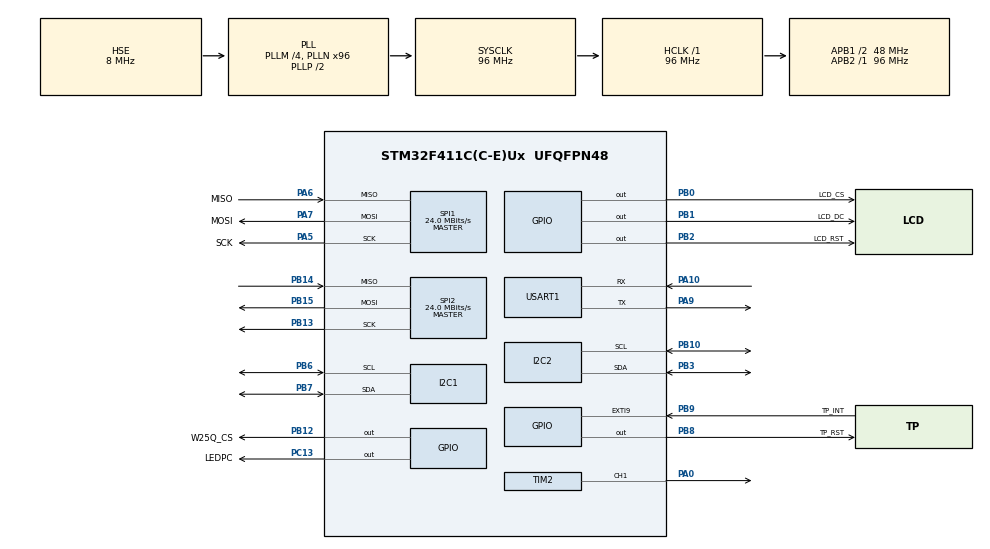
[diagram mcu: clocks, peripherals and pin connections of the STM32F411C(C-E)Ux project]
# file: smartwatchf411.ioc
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Dma.Request0=SPI1_TX
Dma.SPI1_TX.0.Direction=DMA_MEMORY_TO_PERIPH
Dma.SPI1_TX.0.FIFOMode=DMA_FIFOMODE_DISABLE
Dma.SPI1_TX.0.Instance=DMA2_Stream2
Dma.SPI1_TX.0.MemDataAlignment=DMA_MDATAALIGN_BYTE
Dma.SPI1_TX.0.MemInc=DMA_MINC_ENABLE
Dma.SPI1_TX.0.Mode=DMA_NORMAL
Dma.SPI1_TX.0.PeriphDataAlignment=DMA_PDATAALIGN_BYTE
Dma.SPI1_TX.0.PeriphInc=DMA_PINC_DISABLE
Dma.SPI1_TX.0.Priority=DMA_PRIORITY_HIGH
FREERTOS.Tasks01=guiTask,24,2048,StartGUITask,Default,NULL,Dynamic,NULL,NULL;rtcTask,16,256,StartRTCTask,Default,NULL,Dynamic,NULL,NULL;MAX30102Task,16,1024,StartMAX30102Task,Default,NULL,Dynamic,NULL,NULL;MPU6500Task,16,256,StartMPU6500Task,Default,NULL,Dynamic,NULL,NULL
FREERTOS.configTOTAL_HEAP_SIZE=40960
FREERTOS.configUSE_TICK_HOOK=1
Mcu.Family=STM32F4
Mcu.Name=STM32F411C(C-E)Ux
Mcu.Package=UFQFPN48
NVIC.DMA2_Stream2_IRQn=true\:5\:0\:false\:false\:true\:true\:false\:true\:true
NVIC.EXTI9_5_IRQn=true\:5\:0\:true\:false\:true\:true\:true\:true\:true
NVIC.I2C1_EV_IRQn=true\:5\:0\:false\:false\:true\:true\:true\:true\:true
NVIC.PriorityGroup=NVIC_PRIORITYGROUP_4
NVIC.SPI1_IRQn=true\:5\:0\:false\:false\:true\:true\:true\:true\:true
NVIC.TIM1_TRG_COM_TIM11_IRQn=true\:15\:0\:false\:false\:true\:false\:false\:true\:true
NVIC.TimeBase=TIM1_TRG_COM_TIM11_IRQn
NVIC.TimeBaseIP=TIM11
PA0-WKUP.Signal=S_TIM2_CH1_ETR
PA10.Mode=Asynchronous
PA10.Signal=USART1_RX
PA13.Mode=Serial_Wire
PA13.Signal=SYS_JTMS-SWDIO
PA14.Mode=Serial_Wire
PA14.Signal=SYS_JTCK-SWCLK
PA5.GPIO_Label=SCK
PA5.GPIO_Speed=GPIO_SPEED_FREQ_HIGH
PA5.Mode=Full_Duplex_Master
PA5.Signal=SPI1_SCK
PA6.GPIO_Label=MISO
PA6.GPIO_Speed=GPIO_SPEED_FREQ_HIGH
PA6.Mode=Full_Duplex_Master
PA6.Signal=SPI1_MISO
PA7.GPIO_Label=MOSI
PA7.GPIO_Speed=GPIO_SPEED_FREQ_HIGH
PA7.Mode=Full_Duplex_Master
PA7.Signal=SPI1_MOSI
PA9.Mode=Asynchronous
PA9.Signal=USART1_TX
PB0.GPIO_Label=LCD_CS
PB0.PinState=GPIO_PIN_SET
PB0.Signal=GPIO_Output
PB1.GPIO_Label=LCD_DC
PB1.PinState=GPIO_PIN_SET
PB1.Signal=GPIO_Output
PB10.Mode=I2C
PB10.Signal=I2C2_SCL
PB12.GPIO_Label=W25Q_CS
PB12.Signal=GPIO_Output
PB13.Mode=Full_Duplex_Master
PB13.Signal=SPI2_SCK
PB14.Mode=Full_Duplex_Master
PB14.Signal=SPI2_MISO
PB15.Mode=Full_Duplex_Master
PB15.Signal=SPI2_MOSI
PB2.GPIO_Label=LCD_RST
PB2.PinState=GPIO_PIN_SET
PB2.Signal=GPIO_Output
PB3.Mode=I2C
PB3.Signal=I2C2_SDA
PB6.Mode=I2C
PB6.Signal=I2C1_SCL
PB7.Mode=I2C
PB7.Signal=I2C1_SDA
PB8.GPIO_Label=TP_RST
PB8.Signal=GPIO_Output
PB9.GPIO_Label=TP_INT
PB9.GPIO_ModeDefaultEXTI=GPIO_MODE_IT_RISING_FALLING
PB9.GPIO_PuPd=GPIO_PULLUP
PB9.Signal=GPXTI9
PC13-ANTI_TAMP.GPIO_Label=LEDPC
PC13-ANTI_TAMP.PinState=GPIO_PIN_SET
PC13-ANTI_TAMP.Signal=GPIO_Output
PC14-OSC32_IN.Mode=LSE-External-Oscillator
PC14-OSC32_IN.Signal=RCC_OSC32_IN
PC15-OSC32_OUT.Mode=LSE-External-Oscillator
PC15-OSC32_OUT.Signal=RCC_OSC32_OUT
PH0\ -\ OSC_IN.Mode=HSE-External-Oscillator
PH0\ -\ OSC_IN.Signal=RCC_OSC_IN
PH1\ -\ OSC_OUT.Mode=HSE-External-Oscillator
PH1\ -\ OSC_OUT.Signal=RCC_OSC_OUT
ProjectManager.HeapSize=0x400
ProjectManager.StackSize=0x1000
ProjectManager.TargetToolchain=MDK-ARM V5.32
RCC.48MHZClocksFreq_Value=48000000
RCC.AHBFreq_Value=96000000
RCC.APB1CLKDivider=RCC_HCLK_DIV2
RCC.APB1Freq_Value=48000000
RCC.APB1TimFreq_Value=96000000
RCC.APB2Freq_Value=96000000
RCC.APB2TimFreq_Value=96000000
RCC.CortexFreq_Value=96000000
RCC.HCLKFreq_Value=96000000
RCC.HSE_VALUE=8000000
RCC.HSI_VALUE=16000000
RCC.PLLM=4
RCC.PLLN=96
RCC.PLLSourceVirtual=RCC_PLLSOURCE_HSE
RCC.SYSCLKFreq_VALUE=96000000
RCC.SYSCLKSource=RCC_SYSCLKSOURCE_PLLCLK
RCC.VCOOutputFreq_Value=192000000
SH.S_TIM2_CH1_ETR.0=TIM2_CH1,PWM Generation1 CH1
SPI1.BaudRatePrescaler=SPI_BAUDRATEPRESCALER_4
SPI1.CLKPhase=SPI_PHASE_1EDGE
SPI1.CLKPolarity=SPI_POLARITY_LOW
SPI1.CalculateBaudRate=24.0 MBits/s
SPI1.Direction=SPI_DIRECTION_2LINES
SPI1.Mode=SPI_MODE_MASTER
SPI1.VirtualType=VM_MASTER
SPI2.CalculateBaudRate=24.0 MBits/s
SPI2.Direction=SPI_DIRECTION_2LINES
SPI2.Mode=SPI_MODE_MASTER
SPI2.VirtualType=VM_MASTER
TIM2.AutoReloadPreload=TIM_AUTORELOAD_PRELOAD_ENABLE
TIM2.Channel-PWM\ Generation1\ CH1=TIM_CHANNEL_1
TIM2.Period=999
TIM2.Prescaler=83
USART1.VirtualMode=VM_ASYNC
VP_FREERTOS_VS_CMSIS_V2.Mode=CMSIS_V2
VP_RTC_VS_RTC_Activate.Mode=RTC_Enabled
VP_RTC_VS_RTC_Calendar.Mode=RTC_Calendar
VP_SYS_VS_tim11.Mode=TIM11
VP_TIM2_VS_ClockSourceINT.Mode=Internal
board=custom

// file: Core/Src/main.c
/* USER CODE BEGIN Header */
/**
  ******************************************************************************
  * @file           : main.c
  * @brief          : Main program body
  ******************************************************************************
  * @attention
  *
  * Copyright (c) 2025 STMicroelectronics.
  * All rights reserved.
  *
  * This software is licensed under terms that can be found in the LICENSE file
  * in the root directory of this software component.
  * If no LICENSE file comes with this software, it is provided AS-IS.
  *
  ******************************************************************************
  */
/* USER CODE END Header */
#include "main.h"
#include "cmsis_os.h"
#include "dma.h"
#include "i2c.h"
#include "rtc.h"
#include "spi.h"
#include "tim.h"
#include "usart.h"
#include "gpio.h"

/* USER CODE BEGIN Includes */
#include "MAX30102.h"
#include "algorithm.h"
#include "blood.h"
#include "key.h"
#include "w25q64.h"
#include "touch.h"
#include "lcd.h"
#include "gui.h"
#include "lvgl.h"
#include "lv_port_disp.h"
#include "lv_port_indev.h"
/* USER CODE END Includes */

/* USER CODE BEGIN PV */
extern int heart;
extern float SpO2;

/* USER CODE END PV */

void SystemClock_Config(void);
void MX_FREERTOS_Init(void);

/* USER CODE BEGIN 0 */
/* USER CODE BEGIN 0 */

/* USER CODE END 0 */

int main(void)
{

  /* MCU Configuration--------------------------------------------------------*/

  /* Reset of all peripherals, Initializes the Flash interface and the Systick. */
  HAL_Init();

  /* Configure the system clock */
  SystemClock_Config();

  /* USER CODE BEGIN SysInit */
	HAL_Delay(200); //�����ϵ���ʱ
  /* USER CODE END SysInit */

  /* Initialize all configured peripherals */
  MX_GPIO_Init();
  MX_DMA_Init();
  MX_I2C1_Init();
  MX_RTC_Init();
  MX_SPI1_Init();
  MX_USART1_UART_Init();
  MX_I2C2_Init();
  MX_TIM2_Init();
  MX_SPI2_Init();
  /* USER CODE BEGIN 2 */
	//W25Q_WriteData_Smart(0, image_data, 134400);
	lv_init();
	lv_port_disp_init();
	lv_port_indev_init();
	//printf("Initialize successfully\n\r");
  /* USER CODE END 2 */

  /* Init scheduler */
  osKernelInitialize();  /* Call init function for freertos objects (in cmsis_os2.c) */
  MX_FREERTOS_Init();

  /* Start scheduler */
  osKernelStart();

  /* We should never get here as control is now taken by the scheduler */

  /* Infinite loop */
  while (1)
  {

  }
}

void SystemClock_Config(void)
{
  RCC_OscInitTypeDef RCC_OscInitStruct = {0};
  RCC_ClkInitTypeDef RCC_ClkInitStruct = {0};

  /** Configure the main internal regulator output voltage
  */
  __HAL_RCC_PWR_CLK_ENABLE();
  __HAL_PWR_VOLTAGESCALING_CONFIG(PWR_REGULATOR_VOLTAGE_SCALE1);

  /** Initializes the RCC Oscillators according to the specified parameters
  * in the RCC_OscInitTypeDef structure.
  */
  RCC_OscInitStruct.OscillatorType = RCC_OSCILLATORTYPE_LSI|RCC_OSCILLATORTYPE_HSE;
  RCC_OscInitStruct.HSEState = RCC_HSE_ON;
  RCC_OscInitStruct.LSIState = RCC_LSI_ON;
  RCC_OscInitStruct.PLL.PLLState = RCC_PLL_ON;
  RCC_OscInitStruct.PLL.PLLSource = RCC_PLLSOURCE_HSE;
  RCC_OscInitStruct.PLL.PLLM = 4;
  RCC_OscInitStruct.PLL.PLLN = 96;
  RCC_OscInitStruct.PLL.PLLP = RCC_PLLP_DIV2;
  RCC_OscInitStruct.PLL.PLLQ = 4;
  if (HAL_RCC_OscConfig(&RCC_OscInitStruct) != HAL_OK)
  {
    Error_Handler();
  }

  /** Initializes the CPU, AHB and APB buses clocks
  */
  RCC_ClkInitStruct.ClockType = RCC_CLOCKTYPE_HCLK|RCC_CLOCKTYPE_SYSCLK
                              |RCC_CLOCKTYPE_PCLK1|RCC_CLOCKTYPE_PCLK2;
  RCC_ClkInitStruct.SYSCLKSource = RCC_SYSCLKSOURCE_PLLCLK;
  RCC_ClkInitStruct.AHBCLKDivider = RCC_SYSCLK_DIV1;
  RCC_ClkInitStruct.APB1CLKDivider = RCC_HCLK_DIV2;
  RCC_ClkInitStruct.APB2CLKDivider = RCC_HCLK_DIV1;

  if (HAL_RCC_ClockConfig(&RCC_ClkInitStruct, FLASH_LATENCY_3) != HAL_OK)
  {
    Error_Handler();
  }
}

void HAL_TIM_PeriodElapsedCallback(TIM_HandleTypeDef *htim)
{
  if (htim->Instance == TIM11)
  {
    HAL_IncTick();
  }
}

void Error_Handler(void)
{
  __disable_irq();
  while (1)
  {
  }
}

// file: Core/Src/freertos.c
/* USER CODE BEGIN Header */
/**
  ******************************************************************************
  * File Name          : freertos.c
  * Description        : Code for freertos applications
  ******************************************************************************
  * @attention
  *
  * Copyright (c) 2025 STMicroelectronics.
  * All rights reserved.
  *
  * This software is licensed under terms that can be found in the LICENSE file
  * in the root directory of this software component.
  * If no LICENSE file comes with this software, it is provided AS-IS.
  *
  ******************************************************************************
  */
/* USER CODE END Header */

#include "FreeRTOS.h"
#include "task.h"
#include "main.h"
#include "cmsis_os.h"

/* USER CODE BEGIN Includes */
#include "i2c.h"
#include "stdio.h"
#include "lvgl.h"
#include "rtc.h"
#include "gui.h"
#include "touch.h"
#include "blood.h"
#include "algorithm.h"
#include "MAX30102.h"
#include "mpu6500.h"
#include "ui.h"
#include "backlight.h"
/* USER CODE END Includes */

/* USER CODE BEGIN PD */
extern volatile TouchEvent g_last_event;
extern void Setup_Gesture_Logic(void);
/* USER CODE END PD */

/* USER CODE BEGIN Variables */
osMutexId_t I2C1_MutexHandle;
const osMutexAttr_t I2C1_Mutex_attributes = {
    .name = "I2C1_Mutex"
};
/* USER CODE END Variables */
/* Definitions for guiTask */
osThreadId_t guiTaskHandle;
const osThreadAttr_t guiTask_attributes = {
  .name = "guiTask",
  .stack_size = 2048 * 4,
  .priority = (osPriority_t) osPriorityNormal,
};
/* Definitions for rtcTask */
osThreadId_t rtcTaskHandle;
const osThreadAttr_t rtcTask_attributes = {
  .name = "rtcTask",
  .stack_size = 256 * 4,
  .priority = (osPriority_t) osPriorityBelowNormal,
};
/* Definitions for MAX30102Task */
osThreadId_t MAX30102TaskHandle;
const osThreadAttr_t MAX30102Task_attributes = {
  .name = "MAX30102Task",
  .stack_size = 1024 * 4,
  .priority = (osPriority_t) osPriorityBelowNormal,
};
/* Definitions for MPU6500Task */
osThreadId_t MPU6500TaskHandle;
const osThreadAttr_t MPU6500Task_attributes = {
  .name = "MPU6500Task",
  .stack_size = 256 * 4,
  .priority = (osPriority_t) osPriorityBelowNormal,
};

void StartGUITask(void *argument);
void StartRTCTask(void *argument);
void StartMAX30102Task(void *argument);
void StartMPU6500Task(void *argument);

void MX_FREERTOS_Init(void); /* (MISRA C 2004 rule 8.1) */

/* Hook prototypes */
void vApplicationTickHook(void);

/* USER CODE BEGIN 3 */
void vApplicationTickHook( void )
{
   /* This function will be called by each tick interrupt if
   configUSE_TICK_HOOK is set to 1 in FreeRTOSConfig.h. User code can be
   added here, but the tick hook is called from an interrupt context, so
   code must not attempt to block, and only the interrupt safe FreeRTOS API
   functions can be used (those that end in FromISR()). */
	lv_tick_inc(1);
}
/* USER CODE END 3 */

void MX_FREERTOS_Init(void) {
  /* USER CODE BEGIN Init */
  I2C1_MutexHandle = osMutexNew(&I2C1_Mutex_attributes);
  if (I2C1_MutexHandle == NULL) {
      Error_Handler();     // ����ֱ�ӱ���˵��ϵͳ������
  }
  /* USER CODE END Init */

  /* Create the thread(s) */
  /* creation of guiTask */
  guiTaskHandle = osThreadNew(StartGUITask, NULL, &guiTask_attributes);

  /* creation of rtcTask */
  rtcTaskHandle = osThreadNew(StartRTCTask, NULL, &rtcTask_attributes);

  /* creation of MAX30102Task */
  MAX30102TaskHandle = osThreadNew(StartMAX30102Task, NULL, &MAX30102Task_attributes);

  /* creation of MPU6500Task */
  MPU6500TaskHandle = osThreadNew(StartMPU6500Task, NULL, &MPU6500Task_attributes);

}

void StartGUITask(void *argument)
{
  /* USER CODE BEGIN StartGUITask */
	my_decoder_init();
	ui_init();
	Back_Init(); // 初始化背光 (PWM启动)
	Setup_Gesture_Logic();
	uint32_t tick = 0;
  /* Infinite loop */
  for(;;)
  {
      lv_timer_handler();   // 更新lvgl
      osDelay(5);
			tick += 5;
        if (tick >= 200)
				{
            tick = 0;
            char buf_timeh[16];
            lv_snprintf(buf_timeh, sizeof(buf_timeh), "%02d:%02d",
                        g_clock_time.hour,
                        g_clock_time.min);
            lv_label_set_text(ui_labelhourmin, buf_timeh);
						char buf_times[16];
            lv_snprintf(buf_times, sizeof(buf_times), "%02d%", g_clock_time.sec);
            lv_label_set_text(ui_Labelsec, buf_times);
            char buf_spo2[16];
            lv_snprintf(buf_spo2, sizeof(buf_spo2), "SpO2: %d%%", g_spo2_data.spo2);
            lv_label_set_text(ui_Labelspo2, buf_spo2);
            char buf_hr[16];
            lv_snprintf(buf_hr, sizeof(buf_hr), "HR: %d", g_spo2_data.heart_rate);
            lv_label_set_text(ui_Labelheart, buf_hr);
        }
						//ImuActivity_t act = IMU_GetActivity();
						//printf("act = %d\r\n", act);
						/*switch (act) {
                case IMU_ACTIVITY_REST:
                    // 比如可以认为“用户静止 / 可能在休息”
                    // 可以将来用来做：自动熄屏 / 睡眠检测的一个条件
                    break;
                case IMU_ACTIVITY_LIGHT:
                    // 轻微活动
                    break;
                case IMU_ACTIVITY_WALK:
                    // 走路：可以将来计步
                    break;
                case IMU_ACTIVITY_RUN:
                    // 跑步：运动模式
                    break;
                default:
                    break;
            }*/
    }
  /* USER CODE END StartGUITask */
}

void StartRTCTask(void *argument)
{
  /* USER CODE BEGIN StartRTCTask */
	RTC_TimeTypeDef Time_Struct;
  RTC_DateTypeDef Date_Struct;
  /* Infinite loop */
  for(;;)
  {
        // �ȶ�ʱ��
        HAL_RTC_GetTime(&hrtc, &Time_Struct, RTC_FORMAT_BIN);
        // �ٶ����ڣ������һ�β��ܽ����Ĵ�������Ȼ�������ò������ڣ�
        HAL_RTC_GetDate(&hrtc, &Date_Struct, RTC_FORMAT_BIN);

        // д��ȫ��ʱ��ṹ��
        g_clock_time.hour = Time_Struct.Hours+12;
        g_clock_time.min  = Time_Struct.Minutes;
        g_clock_time.sec  = Time_Struct.Seconds;

        // ÿ 200ms ����һ�ξ͹���
        osDelay(200);
  }
  /* USER CODE END StartRTCTask */
}

void StartMAX30102Task(void *argument)
{
  /* USER CODE BEGIN StartMAX30102Task */
		StartSpO2Task(argument);
  /* USER CODE END StartMAX30102Task */
}

void StartMPU6500Task(void *argument)
{
  /* USER CODE BEGIN StartMPU6500Task */
    (void)argument;

    /* 确保 I2C 已经初始化，这里调用一次 Init
     * 如果你已经在 main() 里调用过 MPU6500_Init()，这里可以省略或只在失败时重试。
     */
    MPU6500_Init();

    for (;;)
    {
        MPU6500_Update();  // 读取一次数据并更新 g_imu_data
				IMU_Activity_Update();
				/*printf("ACC[g]: ax=%.2f ay=%.2f az=%.2f, "
               "GYRO[dps]: gx=%.2f gy=%.2f gz=%.2f, "
               "T=%.2fC\r\n",
               g_imu_data.ax, g_imu_data.ay, g_imu_data.az,
               g_imu_data.gx, g_imu_data.gy, g_imu_data.gz,
               g_imu_data.temperature);*/
        /* 控制采样频率，这里是 100Hz（10ms 一次），你可以根据需求调整 */
        osDelay(10);
    }

  /* USER CODE END StartMPU6500Task */
}
